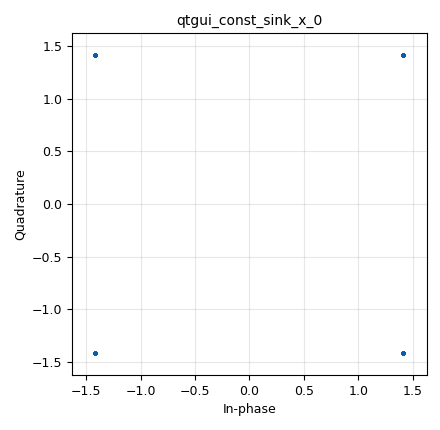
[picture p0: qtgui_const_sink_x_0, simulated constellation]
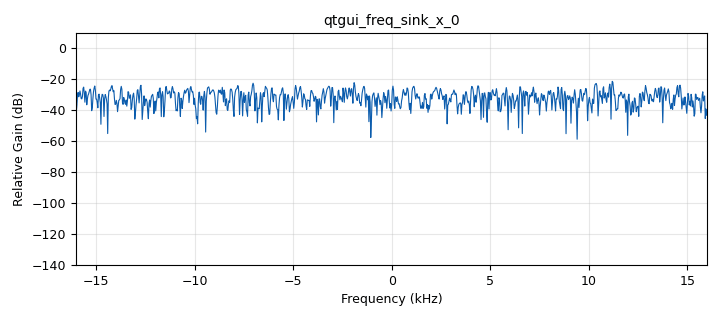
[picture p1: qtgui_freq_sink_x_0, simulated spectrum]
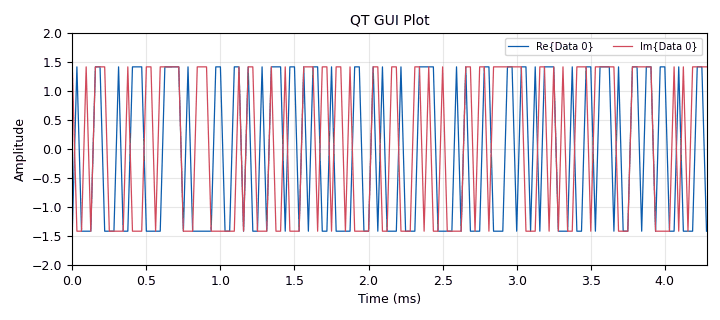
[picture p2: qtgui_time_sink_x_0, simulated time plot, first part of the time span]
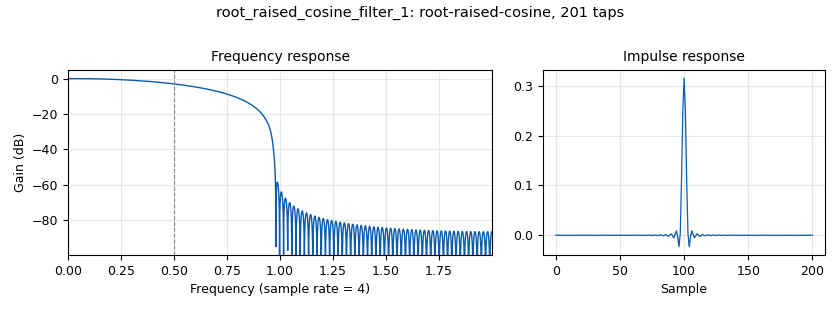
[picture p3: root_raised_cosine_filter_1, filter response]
options:
  parameters:
    category: Custom
    generate_options: qt_gui
    id: mpsk_stage1
    output_language: python
  states: {}

blocks:
- name: samp_rate
  id: variable
  parameters:
    value: '32000'
  states: {}
- name: variable_constellation_0
  id: variable_constellation
  parameters:
    precision: '8'
    type: qpsk
  states: {}
- name: analog_random_source_x_0
  id: analog_random_source_x
  parameters:
    max: '256'
    min: '0'
    num_samps: '1000'
    repeat: 'True'
    type: byte
  states: {}
- name: blocks_throttle2_0
  id: blocks_throttle2
  parameters:
    samples_per_second: samp_rate
    type: complex
  states: {}
- name: digital_constellation_modulator_0
  id: digital_constellation_modulator
  parameters:
    constellation: variable_constellation_0
    differential: 'True'
    excess_bw: '0.95'
    samples_per_symbol: '4'
  states: {}
- name: import_math
  id: import
  parameters:
    imports: import math
  states: {}
- name: qtgui_const_sink_x_0
  id: qtgui_const_sink_x
  parameters:
    autoscale: 'True'
    size: '1024'
    type: complex
  states: {}
- name: qtgui_freq_sink_x_0
  id: qtgui_freq_sink_x
  parameters:
    bw: samp_rate
    fc: '0'
    fftsize: '1024'
    type: complex
  states: {}
- name: qtgui_time_sink_x_0
  id: qtgui_time_sink_x
  parameters:
    gui_hint: 0,0,1,1
    label1: ''
    label2: ''
    name: QT GUI Plot
    size: '1024'
    srate: samp_rate
    type: complex
    ymax: '2'
    ymin: '-2'
  states: {}
- name: root_raised_cosine_filter_1
  id: root_raised_cosine_filter
  parameters:
    alpha: '0.95'
    decim: '4'
    gain: '1'
    ntaps: '200'
    samp_rate: '4'
    sym_rate: '1.0'
    type: fir_filter_ccf
  states: {}

connections:
- [analog_random_source_x_0, '0', digital_constellation_modulator_0, '0']
- [blocks_throttle2_0, '0', qtgui_const_sink_x_0, '0']
- [blocks_throttle2_0, '0', qtgui_freq_sink_x_0, '0']
- [blocks_throttle2_0, '0', qtgui_time_sink_x_0, '0']
- [digital_constellation_modulator_0, '0', root_raised_cosine_filter_1, '0']
- [root_raised_cosine_filter_1, '0', blocks_throttle2_0, '0']

metadata:
  file_format: 1
  grc_version: 3.10.9.2
